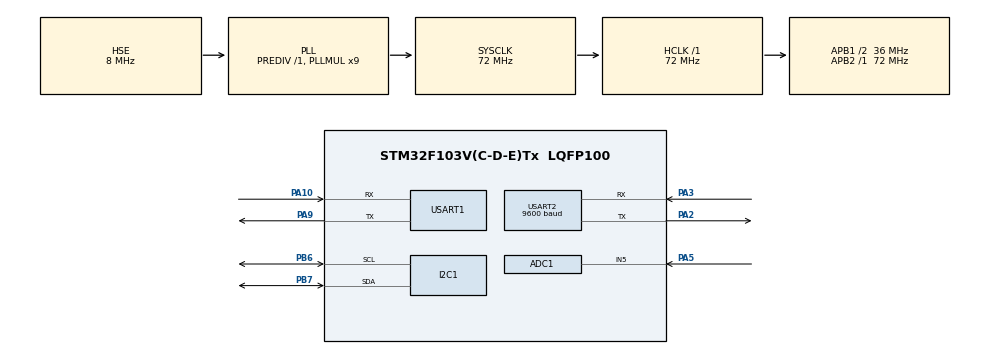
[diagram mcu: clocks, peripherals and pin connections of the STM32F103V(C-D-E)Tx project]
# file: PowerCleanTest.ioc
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ADC1.Channel-0\#ChannelRegularConversion=ADC_CHANNEL_5
ADC1.NbrOfConversionFlag=1
ADC1.Rank-0\#ChannelRegularConversion=1
ADC1.SamplingTime-0\#ChannelRegularConversion=ADC_SAMPLETIME_1CYCLE_5
ADC1.master=1
Dma.Request0=USART2_RX
Dma.Request1=USART2_TX
Dma.Request2=USART1_RX
Dma.Request3=USART1_TX
Dma.USART1_RX.2.Direction=DMA_PERIPH_TO_MEMORY
Dma.USART1_RX.2.Instance=DMA1_Channel5
Dma.USART1_RX.2.MemDataAlignment=DMA_MDATAALIGN_BYTE
Dma.USART1_RX.2.MemInc=DMA_MINC_ENABLE
Dma.USART1_RX.2.Mode=DMA_NORMAL
Dma.USART1_RX.2.PeriphDataAlignment=DMA_PDATAALIGN_BYTE
Dma.USART1_RX.2.PeriphInc=DMA_PINC_DISABLE
Dma.USART1_RX.2.Priority=DMA_PRIORITY_LOW
Dma.USART1_TX.3.Direction=DMA_MEMORY_TO_PERIPH
Dma.USART1_TX.3.Instance=DMA1_Channel4
Dma.USART1_TX.3.MemDataAlignment=DMA_MDATAALIGN_BYTE
Dma.USART1_TX.3.MemInc=DMA_MINC_ENABLE
Dma.USART1_TX.3.Mode=DMA_NORMAL
Dma.USART1_TX.3.PeriphDataAlignment=DMA_PDATAALIGN_BYTE
Dma.USART1_TX.3.PeriphInc=DMA_PINC_DISABLE
Dma.USART1_TX.3.Priority=DMA_PRIORITY_LOW
Dma.USART2_RX.0.Direction=DMA_PERIPH_TO_MEMORY
Dma.USART2_RX.0.Instance=DMA1_Channel6
Dma.USART2_RX.0.MemDataAlignment=DMA_MDATAALIGN_BYTE
Dma.USART2_RX.0.MemInc=DMA_MINC_ENABLE
Dma.USART2_RX.0.Mode=DMA_NORMAL
Dma.USART2_RX.0.PeriphDataAlignment=DMA_PDATAALIGN_BYTE
Dma.USART2_RX.0.PeriphInc=DMA_PINC_DISABLE
Dma.USART2_RX.0.Priority=DMA_PRIORITY_MEDIUM
Dma.USART2_TX.1.Direction=DMA_MEMORY_TO_PERIPH
Dma.USART2_TX.1.Instance=DMA1_Channel7
Dma.USART2_TX.1.MemDataAlignment=DMA_MDATAALIGN_BYTE
Dma.USART2_TX.1.MemInc=DMA_MINC_ENABLE
Dma.USART2_TX.1.Mode=DMA_NORMAL
Dma.USART2_TX.1.PeriphDataAlignment=DMA_PDATAALIGN_BYTE
Dma.USART2_TX.1.PeriphInc=DMA_PINC_DISABLE
Dma.USART2_TX.1.Priority=DMA_PRIORITY_MEDIUM
Mcu.Family=STM32F1
Mcu.Name=STM32F103V(C-D-E)Tx
Mcu.Package=LQFP100
NVIC.DMA1_Channel4_IRQn=true\:0\:0\:false\:false\:true\:false\:true
NVIC.DMA1_Channel5_IRQn=true\:0\:0\:false\:false\:true\:false\:true
NVIC.DMA1_Channel6_IRQn=true\:0\:0\:false\:false\:true\:false\:true
NVIC.DMA1_Channel7_IRQn=true\:0\:0\:false\:false\:true\:false\:true
NVIC.PriorityGroup=NVIC_PRIORITYGROUP_4
NVIC.USART1_IRQn=true\:0\:0\:false\:false\:true\:true\:true
NVIC.USART2_IRQn=true\:0\:0\:false\:false\:true\:true\:true
OSC_IN.Mode=HSE-External-Oscillator
OSC_IN.Signal=RCC_OSC_IN
OSC_OUT.Mode=HSE-External-Oscillator
OSC_OUT.Signal=RCC_OSC_OUT
PA10.Mode=Asynchronous
PA10.Signal=USART1_RX
PA13.Mode=Serial_Wire
PA13.Signal=SYS_JTMS-SWDIO
PA14.Mode=Serial_Wire
PA14.Signal=SYS_JTCK-SWCLK
PA2.Mode=Asynchronous
PA2.Signal=USART2_TX
PA3.Mode=Asynchronous
PA3.Signal=USART2_RX
PA5.Signal=ADCx_IN5
PA9.Mode=Asynchronous
PA9.Signal=USART1_TX
PB6.Mode=I2C
PB6.Signal=I2C1_SCL
PB7.Mode=I2C
PB7.Signal=I2C1_SDA
ProjectManager.HeapSize=0x200
ProjectManager.StackSize=0x400
ProjectManager.TargetToolchain=MDK-ARM V5
RCC.ADCPresc=RCC_ADCPCLK2_DIV6
RCC.AHBFreq_Value=72000000
RCC.APB1CLKDivider=RCC_HCLK_DIV2
RCC.APB1Freq_Value=36000000
RCC.APB1TimFreq_Value=72000000
RCC.APB2Freq_Value=72000000
RCC.APB2TimFreq_Value=72000000
RCC.HCLKFreq_Value=72000000
RCC.PLLMUL=RCC_PLL_MUL9
RCC.PLLSourceVirtual=RCC_PLLSOURCE_HSE
RCC.SYSCLKFreq_VALUE=72000000
RCC.SYSCLKSource=RCC_SYSCLKSOURCE_PLLCLK
RCC.USBFreq_Value=72000000
SH.ADCx_IN5.0=ADC1_IN5,IN5
USART1.VirtualMode=VM_ASYNC
USART2.BaudRate=9600
USART2.VirtualMode=VM_ASYNC
board=custom

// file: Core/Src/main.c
/* USER CODE BEGIN Header */
/**
  ******************************************************************************
  * @file           : main.c
  * @brief          : Main program body
  ******************************************************************************
  * @attention
  *
  * <h2><center>&copy; Copyright (c) 2020 STMicroelectronics.
  * All rights reserved.</center></h2>
  *
  * This software component is licensed by ST under BSD 3-Clause license,
  * the "License"; You may not use this file except in compliance with the
  * License. You may obtain a copy of the License at:
  *                        opensource.org/licenses/BSD-3-Clause
  *
  ******************************************************************************
  */
/* USER CODE END Header */
#include "main.h"
#include "adc.h"
#include "dma.h"
#include "i2c.h"
#include "usart.h"
#include "gpio.h"

/* USER CODE BEGIN Includes */
#include <stdio.h>
#include <stdbool.h>
#include <string.h>
/* USER CODE END Includes */

void SystemClock_Config(void);
/* USER CODE BEGIN PFP */
#ifdef __GNUC__
/* With GCC/RAISONANCE, small printf (option LD Linker->Libraries->Small printf
   set to 'Yes') calls __io_putchar() */
#define PUTCHAR_PROTOTYPE int __io_putchar(int ch)
#else
#define PUTCHAR_PROTOTYPE int fputc(int ch, FILE *f)
#endif /* __GNUC__ */
/**
  * @brief  Retargets the C library printf function to the USART.
  * @param  None
  * @retval None
  */
PUTCHAR_PROTOTYPE
{
  /* Place your implementation of fputc here */
  /* e.g. write a character to the USART4 and Loop until the end of transmission */
  HAL_UART_Transmit(&huart1, (uint8_t *)&ch, 1,0xFFFF);

  return ch;
}
void ResetUserTimer(uint32_t *Timer)
{
	*Timer = HAL_GetTick();
}

uint32_t ReadUserTimer(uint32_t *Timer)
{
	return ( HAL_GetTick() - *Timer);
}

void SetUserTimer(uint32_t *Timer,uint32_t T)
{
	*Timer = HAL_GetTick() + T;
}
/* USER CODE END PFP */

/* USER CODE BEGIN 0 */
extern DMA_HandleTypeDef hdma_usart1_rx;
extern DMA_HandleTypeDef hdma_usart1_tx;
extern DMA_HandleTypeDef hdma_usart2_rx;
extern DMA_HandleTypeDef hdma_usart2_tx;
uint8_t uart2recv[21] = {0x00};
UART_HandleTypeDef* BTHuart = &huart1;
BTDataInfo gBTInfo = {0};
void BTUartIrqHandle(void)
{
	uint32_t tmp;
	tmp = BTHuart->Instance->SR;  //清除状态寄存器SR,读取SR寄存器可以实现清除SR寄存器的功能
	tmp = BTHuart->Instance->DR;
	HAL_UART_DMAStop(BTHuart);

	tmp = hdma_usart1_rx.Instance->CNDTR;       // 获取DMA中未传输的数据个数
	gBTInfo.ihigh += (gBTInfo.iFreeSpaceDataNum - tmp);   //总计数减去未传输的数据个数，得到已经接收的数据个数
	printf("\r\nBT irq rxLen: %d | %d \r\n", gBTInfo.ihigh, gBTInfo.ilow);

//	if(gBTInfo.ilow > gBTInfo.ihigh)
//	{
//		gBTInfo.iFreeSpaceDataNum = gBTInfo.ilow - gBTInfo.ihigh;
//		gBTInfo.iFreeSpaceDataNum = BT_ONE_FRAME_MAX_LEN;
//}
//	else
	{
		if(gBTInfo.iRxDataMaxLen - gBTInfo.ihigh < BT_ONE_FRAME_MAX_LEN)
		{
			//剩余空间不足，从头开始
			gBTInfo.iLastDataNum = gBTInfo.iRxDataMaxLen - gBTInfo.ihigh;
			gBTInfo.ihigh = 0;
			gBTInfo.iFreeSpaceDataNum = BT_ONE_FRAME_MAX_LEN;
		}
		else
		{
			gBTInfo.iFreeSpaceDataNum = BT_ONE_FRAME_MAX_LEN;
		}
	}

	HAL_UART_Receive_DMA(BTHuart, &gBTInfo.RxData[gBTInfo.ihigh], gBTInfo.iFreeSpaceDataNum);
}
void Command_UART_Init(void)
{
	if(gBTInfo.bBTUARTWork)
		return;

	printf("\r\nBT Command_UART_Init !!!");
	HAL_UART_Init(BTHuart);
	gBTInfo.bBTUARTWork = true;
}
void BTCommInit()
{
	memset(&gBTInfo, 0, sizeof(gBTInfo));
	gBTInfo.ihigh = 0;
	gBTInfo.ilow = 0;
	gBTInfo.iLastDataNum = 0;
	gBTInfo.iRxDataMaxLen = BT_RECV_MAX_LEN;
	gBTInfo.iFreeSpaceDataNum = gBTInfo.iRxDataMaxLen - gBTInfo.ihigh;

	__HAL_UART_ENABLE_IT(BTHuart, UART_IT_IDLE);
	HAL_UART_Receive_DMA(BTHuart, &gBTInfo.RxData[gBTInfo.ihigh], gBTInfo.iFreeSpaceDataNum);

	printf("\r\nBT Command_UART_Init !!!");
	gBTInfo.bBTUARTWork = true; //前面cubeMx已经生成了uart初始化
	Command_UART_Init();
}

#define HEAD_FF 0xFF
#define HEAD_55 0x55
#define CMD_01	0x01
#define CMD_02	0X02
#define CMD_03  0x03
#define CMD_04  0x04
#define CMD_05  0x05
#define CMD_06  0x06
#define CMD_07  0x07
#define CMD_08  0x08
uint8_t check_sum(uint8_t* buf, uint8_t len)
{
	unsigned char CheckSum = 0;
	for(int i=2;i<(len-1);i++)
	{
		CheckSum += buf[i];
	}
	buf[len-1] = CheckSum;
	return CheckSum;
}
void TransferUartData2BT()
{
	static uint32_t uarttimer = 0;
	static uint8_t sendlen = 0;
	static uint8_t uart3recv[21] = {0x00};
	if (ReadUserTimer(&uarttimer) > 1000*3)  // 没有新数据收到，则定时发送前一帧数据
	{
		ResetUserTimer(&uarttimer);

	for(int n = 0; n < gBTInfo.ihigh; n++)
	{
		printf("  0x%02x", gBTInfo.RxData[n]);
	}
	printf(".\r\n");

		HAL_UART_Transmit(&huart1, (uint8_t *)uart3recv, sendlen, 0xFFFF);
		printf("\r\nBTHuart sned: ");
		for(int i = 0; i < sendlen; i++)
		{
			printf("0x%02x ", uart3recv[i]);
		}
		printf(".\r\n");
	}

	static uint8_t lastindex = 3;
	uint8_t len = 0;
	static uint8_t check3Cycles = 10;
	while (true)
	{
		if (gBTInfo.ilow != gBTInfo.ihigh)
		{
			if (gBTInfo.RxData[gBTInfo.ilow] == HEAD_FF && gBTInfo.RxData[gBTInfo.ilow+1] == HEAD_55)
			{
				len = gBTInfo.RxData[gBTInfo.ilow+2];
				static uint8_t tempbuf[21] = {0x00};
				memcpy(tempbuf, &gBTInfo.RxData[gBTInfo.ilow], len+2);
				uint8_t checksum = check_sum(tempbuf, len+2);
				if (lastindex != gBTInfo.ilow)
				{
					printf("\r\nstart %d from tempbuf: cksum=%02x-%02x-%02x\r\n", gBTInfo.ilow, checksum, tempbuf[len+1], gBTInfo.RxData[gBTInfo.ilow + len + 1]);
					for(int n = 0; n < len+2; n++)
					{
						printf(" 0x%02x", tempbuf[n]);
					}
					printf(".\r\n");
				}
				lastindex = gBTInfo.ilow;
				if (gBTInfo.RxData[gBTInfo.ilow + len + 1] != tempbuf[len+1])
				{
					printf("\r\nCheckSum Error, receive uncomplete...");
					check3Cycles--;
					if(check3Cycles == 0)
					{
						gBTInfo.ilow++;
						check3Cycles = 10;
					}
					break;
				}
				else
				{
					sendlen = len+2;
//					memcmp(uart3recv, &gBTInfo.RxData[gBTInfo.ilow], len+2);
					for (int m = 0; m < len+2; m++)
					{
						uart3recv[m] = gBTInfo.RxData[gBTInfo.ilow];
//						if (gBTInfo.ilow >= (gBTInfo.iRxDataMaxLen - gBTInfo.iLastDataNum - 1))
//						{
//							gBTInfo.ilow = 0;
//							gBTInfo.iLastDataNum = 0;
//						}
//						else
						{
							gBTInfo.ilow++;
						}
					}
					if (gBTInfo.ihigh == 0)  // 重新头开始读
					{
						gBTInfo.ilow = 0;
					}
					HAL_UART_Transmit(&huart1, (uint8_t *)uart3recv, sendlen, 0xFFFF);
					printf("\r\nBTHuart sned: ");
					for(int i = 0; i < len+2; i++)
					{
						printf("0x%02x ", uart3recv[i]);
					}
					printf(".\r\nlenght=%d", len+2);
					break;
				}
			}
			else
			{
				gBTInfo.ilow++;
				break;
			}
		}
		else
		{
			break;
		}
	}
}
/* USER CODE END 0 */

int main(void)
{
  /* USER CODE BEGIN 1 */
	// 发送测试字符串
	uint8_t str[] = "\r\n-------------USART_DMA_Sending------------------\r\n";
	// 接收缓存区大小为20
	uint8_t recvStr1[200] = {0x00};
	uint8_t recvStr2[20] = {0x00};
  /* USER CODE END 1 */

  /* MCU Configuration--------------------------------------------------------*/

  /* Reset of all peripherals, Initializes the Flash interface and the Systick. */
  HAL_Init();

  /* Configure the system clock */
  SystemClock_Config();

  /* Initialize all configured peripherals */
  MX_GPIO_Init();
  MX_DMA_Init();
  MX_ADC1_Init();
  MX_I2C1_Init();
  MX_USART1_UART_Init();
  MX_USART2_UART_Init();
  /* USER CODE BEGIN 2 */
//	__HAL_UART_ENABLE_IT(&huart1, UART_IT_IDLE);
//	HAL_UART_Transmit_DMA(&huart1, str, sizeof(str) - 1);
//  HAL_Delay(1000);
//	HAL_UART_Receive_DMA(&huart1, (uint8_t *)recvStr1, 20);
//	HAL_Delay(1000);
//	__HAL_UART_ENABLE_IT(&huart2, UART_IT_IDLE);
//	HAL_UART_Transmit_DMA(&huart2, str, sizeof(str) - 1);
//  HAL_Delay(1000);
//	HAL_UART_Receive_DMA(&huart2, (uint8_t *)recvStr2, 20);

	BTCommInit();
  /* USER CODE END 2 */

  /* Infinite loop */
  while (1)
  {

    /* USER CODE BEGIN 3 */
		//循环等待hdma_usart3_rx.State状态的变换，当接收到20个字符的大小后，DMA传输结束
	  //注：因我们采用的是正常模式，而非循环模式，所以才会这么使用，循环模式下，该标志位貌似不起作用
		//串口1接收
//		if(hdma_usart1_rx.State == HAL_DMA_STATE_READY)
//		{
//			// 将接收到的字符打印出来进行观察
//			printf("\r\n:%s:",recvStr1);
//			HAL_UART_Transmit_DMA(&huart1, recvStr1, sizeof(recvStr1) - 1);
//			// 发到串口2
////			HAL_UART_Transmit_DMA(&huart2, recvStr1, sizeof(recvStr1) - 1);
//			HAL_Delay(1000);
//			// 清除缓存区内容，方便进行下次接收
//			memset(recvStr1,0,sizeof(recvStr1));
//			// 软件将标志位清零
//			hdma_usart1_rx.State = HAL_DMA_STATE_BUSY;
//			// 继续继续下一回合的DMA接收，因为采用的非循环模式，再次调用会再次使能DMA
//			HAL_UART_Receive_DMA(&huart1, (uint8_t *)recvStr1, 20);
//
//
//		}
//		HAL_Delay(5000);
//		static uint8_t sendCount[21] = {0x41,0x41,0x41,0x41,0x41,0x41,0x41,0x41,0x41,0x41,0x41,0x41,0x41,0x41,0x41,0x41,0x41,0x41,0x41,0x41};
//		sendCount[18] += 0x01;
//		if (sendCount[18] - sendCount[1] > 20) {sendCount[18] = 0x41;}
//		uart2recv[18] = sendCount[18];
//		if (uart2recv[6] == 0x41) {
//			HAL_UART_Transmit_DMA(&huart2, uart2recv, sizeof(uart2recv)-1);
//		} else {
//			HAL_UART_Transmit_DMA(&huart2, sendCount, sizeof(sendCount)-1);
//		}

//		//串口2接收
//		if(hdma_usart2_rx.State == HAL_DMA_STATE_READY)
//		{
//			// 将接收到的字符打印出来进行观察
//			// 发到串口1
//			HAL_UART_Transmit_DMA(&huart1, recvStr2, sizeof(recvStr2) - 1);
//			HAL_Delay(1000);
//			// 清除缓存区内容，方便进行下次接收
//			memset(recvStr2,0,sizeof(recvStr2));
//			// 软件将标志位清零
//			hdma_usart2_rx.State = HAL_DMA_STATE_BUSY;
//			// 继续继续下一回合的DMA接收，因为采用的非循环模式，再次调用会再次使能DMA
//			HAL_UART_Receive_DMA(&huart2, (uint8_t *)recvStr2, 20);
//		}

	TransferUartData2BT();
  }
  /* USER CODE END 3 */
}

void SystemClock_Config(void)
{
  RCC_OscInitTypeDef RCC_OscInitStruct = {0};
  RCC_ClkInitTypeDef RCC_ClkInitStruct = {0};
  RCC_PeriphCLKInitTypeDef PeriphClkInit = {0};

  /** Initializes the RCC Oscillators according to the specified parameters
  * in the RCC_OscInitTypeDef structure.
  */
  RCC_OscInitStruct.OscillatorType = RCC_OSCILLATORTYPE_HSE;
  RCC_OscInitStruct.HSEState = RCC_HSE_ON;
  RCC_OscInitStruct.HSEPredivValue = RCC_HSE_PREDIV_DIV1;
  RCC_OscInitStruct.HSIState = RCC_HSI_ON;
  RCC_OscInitStruct.PLL.PLLState = RCC_PLL_ON;
  RCC_OscInitStruct.PLL.PLLSource = RCC_PLLSOURCE_HSE;
  RCC_OscInitStruct.PLL.PLLMUL = RCC_PLL_MUL9;
  if (HAL_RCC_OscConfig(&RCC_OscInitStruct) != HAL_OK)
  {
    Error_Handler();
  }
  /** Initializes the CPU, AHB and APB buses clocks
  */
  RCC_ClkInitStruct.ClockType = RCC_CLOCKTYPE_HCLK|RCC_CLOCKTYPE_SYSCLK
                              |RCC_CLOCKTYPE_PCLK1|RCC_CLOCKTYPE_PCLK2;
  RCC_ClkInitStruct.SYSCLKSource = RCC_SYSCLKSOURCE_PLLCLK;
  RCC_ClkInitStruct.AHBCLKDivider = RCC_SYSCLK_DIV1;
  RCC_ClkInitStruct.APB1CLKDivider = RCC_HCLK_DIV2;
  RCC_ClkInitStruct.APB2CLKDivider = RCC_HCLK_DIV1;

  if (HAL_RCC_ClockConfig(&RCC_ClkInitStruct, FLASH_LATENCY_2) != HAL_OK)
  {
    Error_Handler();
  }
  PeriphClkInit.PeriphClockSelection = RCC_PERIPHCLK_ADC;
  PeriphClkInit.AdcClockSelection = RCC_ADCPCLK2_DIV6;
  if (HAL_RCCEx_PeriphCLKConfig(&PeriphClkInit) != HAL_OK)
  {
    Error_Handler();
  }
}

void Error_Handler(void)
{
}

/************************ (C) COPYRIGHT STMicroelectronics *****END OF FILE****/
